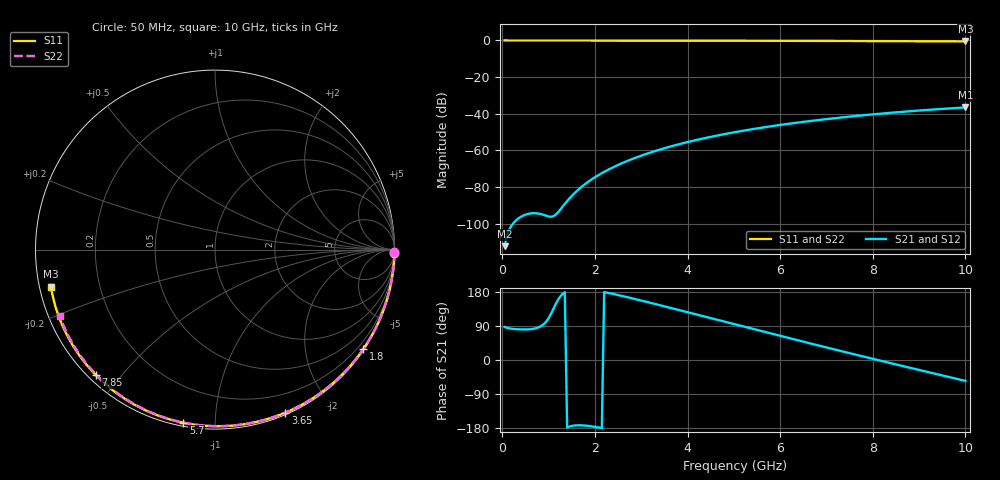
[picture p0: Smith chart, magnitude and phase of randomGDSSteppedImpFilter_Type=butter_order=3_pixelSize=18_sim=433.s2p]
! freq	dB(S11)	phase(S11)	dB(S12)	phase(S12)
!  dB(S21)	phase(S21)	dB(S22)	phase(S22)
!S-par simulation data
#  GHz  S  DB  R 50
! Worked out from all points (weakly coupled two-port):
!   200 points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, 50 MHz to 10 GHz, reference 50 ohm
!   highest |S21| = -36.55 dB at 10 GHz (marker M1); lowest = -112.3 dB at 50 MHz (marker M2)
!   lowest |S11| = -0.6 dB at 10 GHz (marker M3), VSWR 31.06, Z = 1.63 - j5.55 ohm
!   |S11| at or under -10 dB: nowhere
!   |S22| runs from -0.5 to 0.0 dB; largest |S21 - S12| = 0
!   S11 on the Smith chart (normalised r, x): 50 MHz: open; 1.8 GHz: 0.03, -3.29; 3.65 GHz: 0.02, -1.52; 5.7 GHz: 0.02, -0.83; 7.85 GHz: 0.02, -0.43; 10 GHz: 0.03, -0.11
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0.05  -0.00 -1.0  -112.29 87.2  -112.29 87.2  -0.00 -0.9
0.45  -0.01 -8.6  -95.61 80.6  -95.61 80.6  -0.01 -8.1
0.85  -0.02 -16.2  -94.90 90.3  -94.90 90.3  -0.02 -15.3
1.25  -0.03 -23.7  -92.42 167.2  -92.42 167.2  -0.03 -22.4
1.7  -0.04 -32.0  -80.16 -172.4  -80.16 -172.4  -0.04 -30.3
1.75  -0.04 -32.9  -79.14 -172.7  -79.14 -172.7  -0.04 -31.2
1.8  -0.04 -33.8  -78.16 -173.2  -78.16 -173.2  -0.04 -32.1
2.1  -0.05 -39.3  -73.15 -178.5  -73.15 -178.5  -0.05 -37.3
2.5  -0.06 -46.5  -67.95 171.4  -67.95 171.4  -0.06 -44.1
2.9  -0.07 -53.6  -63.80 159.9  -63.80 159.9  -0.07 -50.9
3.4  -0.08 -62.4  -59.58 144.7  -59.58 144.7  -0.08 -59.2
3.65  -0.09 -66.7  -57.77 137.0  -57.77 137.0  -0.09 -63.3
4.3  -0.11 -77.7  -53.72 116.6  -53.72 116.6  -0.11 -73.7
5.05  -0.14 -90.0  -49.94 93.1  -49.94 93.1  -0.13 -85.3
5.7  -0.17 -100.3  -47.23 72.9  -47.23 72.9  -0.16 -95.1
6.2  -0.20 -108.2  -45.42 57.5  -45.42 57.5  -0.19 -102.5
6.7  -0.23 -115.9  -43.81 42.2  -43.81 42.2  -0.21 -109.8
7.25  -0.27 -124.3  -42.23 25.5  -42.23 25.5  -0.25 -117.7
7.85  -0.32 -133.5  -40.70 7.5  -40.70 7.5  -0.30 -126.2
8.35  -0.36 -141.2  -39.57 -7.3  -39.57 -7.3  -0.34 -133.3
9.2  -0.46 -154.4  -37.88 -32.1  -37.88 -32.1  -0.43 -145.3
10  -0.56 -167.3  -36.55 -55.2  -36.55 -55.2  -0.53 -156.8
